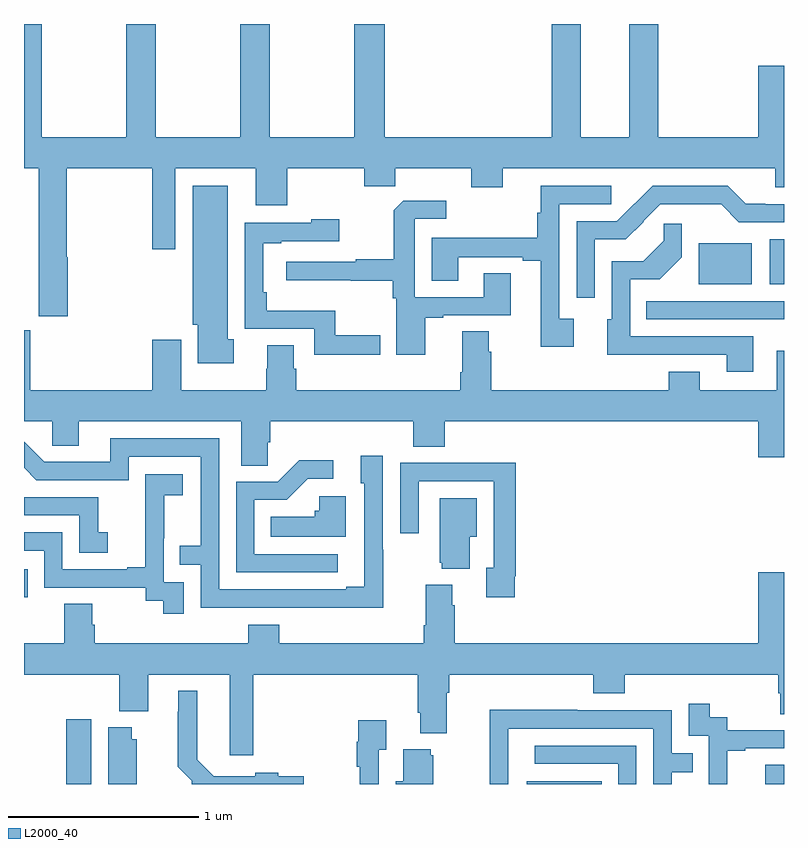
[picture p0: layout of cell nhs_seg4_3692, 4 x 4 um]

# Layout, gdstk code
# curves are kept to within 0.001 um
import gdstk
lib = gdstk.Library(unit=1e-6, precision=1e-09)
def R(c, l, rs):  # rectangles x0, y0, x1, y1
    for r in rs: c.add(gdstk.rectangle(r[:2], r[2:], *l))
def P(c, l, *ps):  # polygons
    for p in ps: c.add(gdstk.Polygon(p, *l))
L2000_40 = (2000, 40)

nhs_seg4_3692 = lib.new_cell('nhs_seg4_3692')
R(nhs_seg4_3692, L2000_40, [(305.222,806.9,305.353,807.241), (307.646,806.9,308.042,806.914), (308.901,806.9,309,807.001), (305,807.882,305.021,808.029), (308.552,809.531,308.83,809.746), (308.924,809.531,309,809.767)])
P(nhs_seg4_3692, L2000_40, [(306.791,810.047),(306.955,810.047),(306.955,810.14),(307.355,810.14),(307.355,810.041),(307.519,810.041),(307.519,810.14),(308.954,810.14),(308.954,810.042),(309,810.042),(309,810.679),(308.864,810.679),(308.864,810.304),(308.339,810.304),(308.339,810.9),(308.186,810.9),(308.186,810.304),(307.93,810.304),(307.93,810.9),(307.778,810.9),(307.778,810.304),(306.899,810.304),(306.899,810.9),(306.739,810.9),(306.739,810.304),(306.294,810.304),(306.294,810.9),(306.139,810.9),(306.139,810.304),(305.694,810.304),(305.694,810.9),(305.539,810.9),(305.539,810.304),(305.094,810.304),(305.094,810.9),(305,810.9),(305,810.14),(305.078,810.14),(305.078,809.361),(305.231,809.361),(305.231,809.673),(305.226,809.673),(305.226,810.14),(305.674,810.14),(305.674,809.715),(305.797,809.715),(305.797,810.14),(306.221,810.14),(306.221,809.946),(306.385,809.946),(306.385,810.14),(306.791,810.14)],
  [(306.103,809.24),(306.073,809.24),(306.073,810.049),(305.888,810.049),(305.888,809.316),(305.915,809.316),(305.915,809.114),(306.103,809.114)],
  [(308.004,809.766),(308.167,809.766),(308.261,809.86),(308.259,809.862),(308.349,809.952),(308.669,809.951),(308.763,809.856),(309,809.856),(309,809.952),(308.902,809.952),(308.902,809.954),(308.798,809.954),(308.703,810.048),(308.309,810.048),(308.121,809.862),(307.908,809.862),(307.908,809.46),(308.004,809.46)],
  [(307.894,809.35),(307.818,809.35),(307.818,809.952),(308.091,809.952),(308.091,810.048),(307.721,810.048),(307.721,809.906),(307.702,809.906),(307.702,809.774),(307.145,809.774),(307.145,809.548),(307.285,809.548),(307.285,809.673),(307.625,809.673),(307.625,809.653),(307.721,809.653),(307.721,809.202),(307.894,809.202)],
  [(307.111,809.355),(307.207,809.355),(307.207,809.367),(307.561,809.367),(307.561,809.588),(307.421,809.588),(307.421,809.463),(307.056,809.463),(307.056,809.874),(307.222,809.874),(307.222,809.971),(306.997,809.971),(306.945,809.919),(306.945,809.662),(306.745,809.662),(306.745,809.649),(306.381,809.649),(306.381,809.552),(306.721,809.552),(306.721,809.548),(306.94,809.548),(306.94,809.456),(306.96,809.456),(306.96,809.16),(307.111,809.16)],
  [(306.874,809.261),(306.637,809.261),(306.637,809.392),(306.278,809.392),(306.278,809.488),(306.258,809.488),(306.258,809.745),(306.355,809.745),(306.355,809.757),(306.658,809.757),(306.658,809.872),(306.513,809.872),(306.513,809.853),(306.162,809.853),(306.162,809.295),(306.528,809.295),(306.528,809.159),(306.874,809.159)],
  [(308.839,809.256),(308.19,809.256),(308.19,809.556),(308.347,809.556),(308.463,809.672),(308.463,809.848),(308.368,809.848),(308.368,809.76),(308.26,809.652),(308.094,809.652),(308.094,809.346),(308.069,809.346),(308.069,809.159),(308.699,809.16),(308.699,809.07),(308.839,809.07)],
  [(309,809.442),(308.275,809.442),(308.275,809.346),(308.935,809.346),(308.935,809.345),(309,809.345)],
  [(306.282,808.699),(306.296,808.699),(306.296,808.808),(307.049,808.808),(307.049,808.675),(307.214,808.675),(307.214,808.808),(308.864,808.808),(308.864,808.62),(309,808.62),(309,809.179),(308.963,809.179),(308.963,808.972),(308.557,808.972),(308.557,809.071),(308.393,809.071),(308.393,808.972),(307.46,808.972),(307.46,809.174),(307.447,809.174),(307.447,809.282),(307.307,809.282),(307.307,809.068),(307.295,809.068),(307.295,808.972),(306.434,808.972),(306.434,809.085),(306.421,809.085),(306.421,809.21),(306.281,809.21),(306.281,809.085),(306.274,809.085),(306.274,808.972),(305.827,808.972),(305.827,809.239),(305.675,809.239),(305.675,808.972),(305.032,808.972),(305.032,809.289),(305,809.289),(305,808.808),(305.148,808.808),(305.148,808.681),(305.287,808.681),(305.287,808.808),(306.143,808.808),(306.143,808.576),(306.282,808.576)],
  [(306.891,808.133),(306.888,808.133),(306.888,808.627),(306.773,808.627),(306.773,808.482),(306.792,808.482),(306.792,807.937),(306.695,807.937),(306.695,807.924),(306.027,807.924),(306.027,808.719),(305.453,808.719),(305.453,808.596),(305.106,808.596),(305,808.702),(305,808.564),(305.064,808.5),(305.55,808.5),(305.55,808.623),(305.931,808.623),(305.931,808.154),(305.821,808.154),(305.821,808.053),(305.931,808.053),(305.931,807.828),(306.891,807.827)],
  [(306.652,808.11),(306.213,808.11),(306.213,808.395),(306.382,808.395),(306.493,808.506),(306.628,808.506),(306.628,808.604),(306.449,808.604),(306.336,808.491),(306.117,808.491),(306.117,808.014),(306.652,808.014)],
  [(307.582,807.994),(307.589,807.994),(307.589,808.592),(307.297,808.592),(307.297,808.59),(306.981,808.59),(306.981,808.221),(307.077,808.221),(307.077,808.494),(307.473,808.494),(307.473,808.038),(307.433,808.038),(307.433,807.882),(307.582,807.882)],
  [(305.841,807.963),(305.736,807.963),(305.736,808.193),(305.738,808.193),(305.738,808.421),(305.836,808.421),(305.836,808.531),(305.638,808.531),(305.638,808.325),(305.639,808.325),(305.639,808.042),(305.543,808.042),(305.543,808.029),(305.202,808.029),(305.202,808.224),(305,808.224),(305,808.128),(305.106,808.128),(305.106,807.933),(305.64,807.933),(305.64,807.865),(305.733,807.865),(305.733,807.795),(305.841,807.795)],
  [(306.694,808.414),(306.555,808.414),(306.555,808.338),(306.529,808.338),(306.529,808.306),(306.298,808.306),(306.298,808.202),(306.694,808.202)],
  [(305.44,808.225),(305.391,808.225),(305.391,808.41),(305,808.41),(305,808.314),(305.292,808.314),(305.292,808.116),(305.44,808.116)],
  [(307.345,808.202),(307.384,808.202),(307.384,808.405),(307.187,808.405),(307.187,808.065),(307.199,808.065),(307.199,808.034),(307.345,808.034)],
  [(306.206,807.476),(307.073,807.476),(307.073,807.274),(307.085,807.274),(307.085,807.167),(307.225,807.167),(307.225,807.38),(307.238,807.38),(307.238,807.476),(307.997,807.476),(307.997,807.377),(308.162,807.377),(308.162,807.476),(308.969,807.476),(308.969,807.378),(308.981,807.378),(308.981,807.268),(309,807.268),(309,808.015),(308.864,808.015),(308.864,807.64),(307.268,807.64),(307.268,807.842),(307.255,807.842),(307.255,807.949),(307.115,807.949),(307.115,807.736),(307.103,807.736),(307.103,807.64),(306.344,807.64),(306.344,807.739),(306.179,807.739),(306.179,807.64),(305.372,807.64),(305.372,807.738),(305.359,807.738),(305.359,807.848),(305.212,807.848),(305.212,807.64),(305,807.64),(305,807.476),(305.501,807.476),(305.501,807.284),(305.653,807.284),(305.653,807.476),(306.083,807.476),(306.083,807.051),(306.206,807.051)],
  [(306.472,806.94),(306.338,806.94),(306.338,806.96),(306.218,806.96),(306.218,806.94),(305.998,806.94),(305.911,807.028),(305.911,807.391),(305.813,807.391),(305.813,807.281),(305.809,807.281),(305.809,806.99),(305.883,806.916),(305.883,806.9),(306.472,806.9)],
  [(308.702,807.075),(308.797,807.075),(308.797,807.087),(309,807.087),(309,807.183),(308.7,807.183),(308.7,807.252),(308.608,807.252),(308.608,807.322),(308.499,807.322),(308.499,807.153),(308.604,807.153),(308.604,806.924),(308.603,806.924),(308.603,806.9),(308.702,806.9)],
  [(307.548,806.959),(307.549,806.959),(307.549,807.192),(308.313,807.192),(308.313,806.9),(308.409,806.9),(308.409,806.962),(308.519,806.962),(308.519,807.063),(308.409,807.063),(308.409,807.288),(307.913,807.288),(307.913,807.29),(307.45,807.29),(307.45,806.983),(307.452,806.983),(307.452,806.9),(307.548,806.9)],
  [(306.867,807.079),(306.907,807.079),(306.907,807.235),(306.759,807.235),(306.759,807.122),(306.751,807.122),(306.751,806.99),(306.766,806.99),(306.766,806.9),(306.867,806.9)],
  [(305.593,807.135),(305.566,807.135),(305.566,807.199),(305.444,807.199),(305.444,806.9),(305.593,806.9)],
  [(308.223,807.102),(307.689,807.102),(307.689,807.006),(308.127,807.006),(308.127,806.9),(308.223,806.9)],
  [(307.153,807.051),(307.142,807.051),(307.142,807.082),(306.995,807.082),(306.995,806.914),(306.956,806.914),(306.956,806.9),(307.153,806.9)])

lib.write_gds('nhs_seg4_3692.gds')
